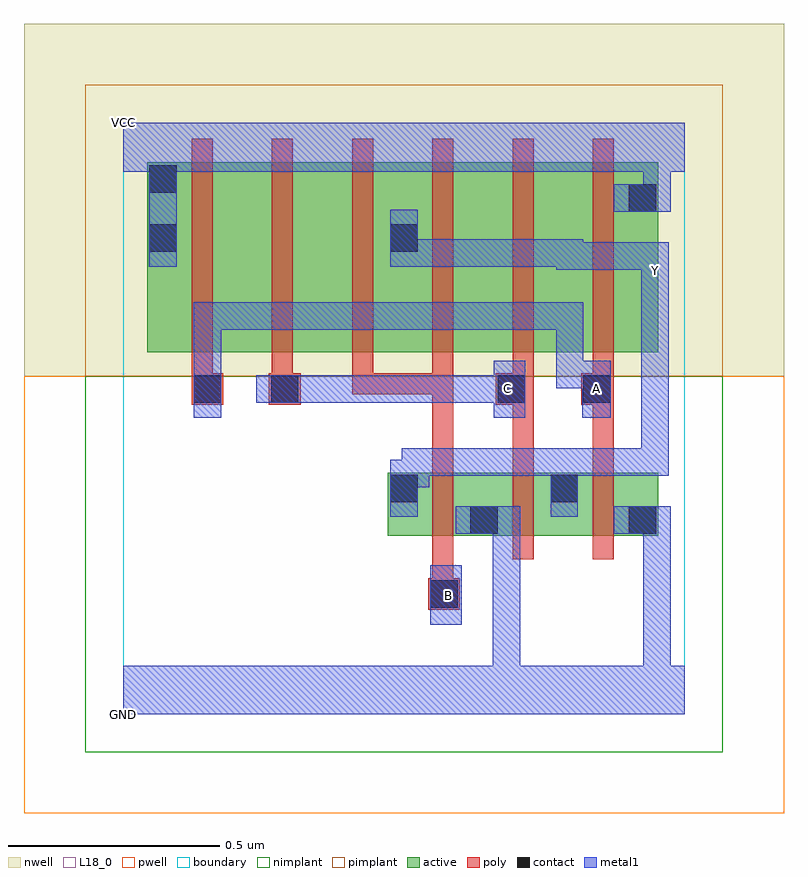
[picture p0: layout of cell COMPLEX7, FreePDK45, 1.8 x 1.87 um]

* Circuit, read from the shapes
.subckt COMPLEX7 A B C GND VCC Y
M1 GND B Y VSUBS nfet w=0.15u l=0.05u
M2 Y C GND VSUBS nfet w=0.15u l=0.05u
M3 GND A Y VSUBS nfet w=0.15u l=0.05u
M4 n1 A VCC n2 pfet w=0.45u l=0.05u
M5 n3 C n1 n2 pfet w=0.45u l=0.05u
M6 Y B n3 n2 pfet w=0.45u l=0.05u
M7 n4 B Y n2 pfet w=0.45u l=0.05u
M8 n5 C n4 n2 pfet w=0.45u l=0.05u
M9 VCC A n5 n2 pfet w=0.45u l=0.05u
.ends

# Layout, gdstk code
import gdstk
lib = gdstk.Library(unit=1e-6, precision=1e-09)
def R(c, l, rs):  # rectangles x0, y0, x1, y1
    for r in rs: c.add(gdstk.rectangle(r[:2], r[2:], *l))
def A(c, l, x, y, w, h, nx, ny, dx, dy):  # array of equal rectangles
    R(c, l, [(x+i*dx, y+j*dy, x+i*dx+w, y+j*dy+h) for i in range(nx) for j in range(ny)])
active = (1, 0)
pwell = (2, 0)
nwell = (3, 0)
nimplant = (4, 0)
pimplant = (5, 0)
poly = (9, 0)
contact = (10, 0)
metal1 = (11, 0)
L18_0 = (18, 0)
boundary = (235, 0)

complex7 = lib.new_cell('COMPLEX7')
R(complex7, active, [(0.627,0.422,0.702,0.572), (0.627,0.422,0.892,0.572), (0.817,0.422,1.082,0.572), (0.817,0.422,0.892,0.497), (1.007,0.422,1.082,0.572), (1.007,0.422,1.267,0.572), (1.192,0.422,1.267,0.572), (0.057,0.857,0.282,1.307), (0.057,0.857,0.132,1.305), (0.282,0.857,0.472,1.307), (0.472,0.857,0.702,1.307), (0.627,0.857,0.852,1.307), (0.627,0.857,0.702,1.2), (0.852,0.857,1.042,1.307), (1.042,0.857,1.267,1.307), (1.192,0.857,1.267,1.307)])
R(complex7, pwell, [(-0.235,-0.235,1.565,0.8)])
R(complex7, nwell, [(-0.235,0.8,1.565,1.635)])
R(complex7, nimplant, [(-0.09,-0.09,1.42,0.8)])
R(complex7, pimplant, [(-0.09,0.8,1.42,1.49)])
A(complex7, poly, 0.732, 0.367, 0.05, 0.26, 3, 1, 0.19, 0)
A(complex7, poly, 0.162, 0.757, 0.05, 0.095, 6, 1, 0.19, 0)
A(complex7, poly, 0.162, 0.802, 0.05, 0.56, 6, 1, 0.19, 0)
R(complex7, poly, [(0.722,0.247,0.797,0.322), (0.732,0.272,0.782,0.417), (0.732,0.577,0.782,0.807), (0.922,0.577,0.972,0.782), (1.112,0.577,1.162,0.782), (0.162,0.732,0.237,0.807), (0.345,0.732,0.42,0.807), (0.882,0.732,0.972,0.807), (1.085,0.732,1.162,0.807), (0.542,0.757,0.782,0.807), (0.542,0.757,0.592,0.807), (0.542,0.757,0.592,0.807), (0.542,0.757,0.592,0.807), (0.732,0.757,0.782,0.807)])
R(complex7, contact, [(0.727,0.252,0.792,0.317), (0.822,0.427,0.887,0.492), (1.197,0.427,1.262,0.492), (0.632,0.502,0.697,0.567), (1.012,0.502,1.077,0.567), (0.167,0.737,0.232,0.802), (0.35,0.737,0.415,0.802), (0.887,0.737,0.952,0.802), (1.09,0.737,1.155,0.802), (0.062,1.095,0.127,1.16), (0.632,1.095,0.697,1.16), (1.197,1.19,1.262,1.255), (0.062,1.235,0.127,1.3)])
R(complex7, metal1, [(0,0,1.33,0.115), (0.875,0.05,0.94,0.115), (0.875,0.05,0.94,0.115), (0.875,0.05,0.94,0.115), (0.875,0.05,0.94,0.115), (0.875,0.05,0.94,0.492), (1.232,0.05,1.297,0.115), (1.232,0.05,1.297,0.115), (1.232,0.05,1.297,0.115), (1.232,0.05,1.297,0.115), (1.232,0.05,1.297,0.115), (1.232,0.05,1.297,0.115), (1.232,0.05,1.297,0.492), (0.727,0.212,0.802,0.352), (0.787,0.427,0.94,0.492), (0.875,0.427,0.94,0.492), (0.875,0.427,0.94,0.492), (0.875,0.427,0.94,0.492), (0.875,0.427,0.94,0.492), (1.162,0.427,1.297,0.492), (1.232,0.427,1.297,0.492), (1.232,0.427,1.297,0.492), (0.632,0.467,0.697,0.602), (1.012,0.467,1.077,0.63), (0.632,0.537,0.725,0.602), (0.66,0.537,0.725,0.63), (0.66,0.565,0.94,0.63), (0.875,0.565,0.94,0.63), (0.875,0.565,0.94,0.63), (0.875,0.565,0.94,0.63), (0.875,0.565,1.077,0.63), (1.012,0.565,1.292,0.63), (1.227,0.565,1.292,0.63), (1.227,0.565,1.292,0.63), (1.227,0.565,1.292,0.63), (1.227,0.565,1.292,1.047), (0.167,0.702,0.232,0.837), (0.877,0.702,0.952,0.837), (1.087,0.702,1.155,0.837), (0.315,0.737,0.45,0.802), (0.385,0.737,0.45,0.802), (0.385,0.737,0.45,0.802), (0.385,0.737,0.587,0.802), (0.522,0.737,0.587,0.802), (0.522,0.737,0.587,0.802), (0.522,0.737,0.587,0.802), (0.522,0.737,0.802,0.802), (0.737,0.737,0.802,0.802), (0.737,0.737,0.94,0.802), (0.875,0.737,0.94,0.802), (0.875,0.737,0.942,0.802), (0.167,0.772,0.232,0.837), (0.167,0.772,0.232,0.837), (0.167,0.772,0.232,0.975), (1.025,0.772,1.09,0.837), (1.025,0.772,1.152,0.837), (1.025,0.772,1.09,0.975), (0.167,0.91,0.232,0.975), (0.167,0.91,0.37,0.975), (0.305,0.91,0.37,0.975), (0.305,0.91,0.37,0.975), (0.305,0.91,0.37,0.975), (0.305,0.91,0.587,0.975), (0.522,0.91,0.587,0.975), (0.522,0.91,0.587,0.975), (0.522,0.91,0.587,0.975), (0.522,0.91,0.725,0.975), (0.66,0.91,0.725,0.975), (0.66,0.91,0.94,0.975), (0.875,0.91,0.94,0.975), (0.875,0.91,0.94,0.975), (0.875,0.91,0.94,0.975), (0.875,0.91,1.09,0.975), (1.025,0.91,1.09,0.975), (1.227,0.982,1.292,1.117), (1.025,1.052,1.292,1.117), (1.025,1.052,1.09,1.125), (1.227,1.052,1.292,1.117), (1.227,1.052,1.292,1.117), (1.227,1.052,1.292,1.117), (1.227,1.052,1.292,1.117), (1.227,1.052,1.292,1.117), (1.227,1.052,1.292,1.117), (0.062,1.06,0.127,1.335), (0.632,1.06,0.697,1.195), (0.632,1.06,0.752,1.125), (0.687,1.06,0.752,1.125), (0.687,1.06,0.94,1.125), (0.875,1.06,0.94,1.125), (0.875,1.06,0.94,1.125), (0.875,1.06,0.94,1.125), (0.875,1.06,1.09,1.125), (1.162,1.19,1.297,1.255), (1.232,1.19,1.297,1.35), (0.062,1.27,0.127,1.35), (0,1.285,1.33,1.4)])
R(complex7, L18_0, [(0,0,1.33,0.115), (0.875,0.05,0.94,0.115), (0.875,0.05,0.94,0.115), (0.875,0.05,0.94,0.115), (0.875,0.05,0.94,0.115), (0.875,0.05,0.94,0.492), (1.232,0.05,1.297,0.115), (1.232,0.05,1.297,0.115), (1.232,0.05,1.297,0.115), (1.232,0.05,1.297,0.115), (1.232,0.05,1.297,0.115), (1.232,0.05,1.297,0.115), (1.232,0.05,1.297,0.492), (0.727,0.212,0.802,0.352), (0.737,0.247,0.802,0.312), (0.787,0.427,0.94,0.492), (0.875,0.427,0.94,0.492), (0.875,0.427,0.94,0.492), (0.875,0.427,0.94,0.492), (0.875,0.427,0.94,0.492), (1.162,0.427,1.297,0.492), (1.232,0.427,1.297,0.492), (1.232,0.427,1.297,0.492), (0.632,0.467,0.697,0.602), (1.012,0.467,1.077,0.63), (0.632,0.537,0.725,0.602), (0.66,0.537,0.725,0.63), (0.66,0.565,0.94,0.63), (0.875,0.565,0.94,0.63), (0.875,0.565,0.94,0.63), (0.875,0.565,0.94,0.63), (0.875,0.565,1.077,0.63), (1.012,0.565,1.292,0.63), (1.227,0.565,1.292,0.63), (1.227,0.565,1.292,0.63), (1.227,0.565,1.292,0.63), (1.227,0.565,1.292,1.047), (0.167,0.702,0.232,0.837), (0.877,0.702,0.952,0.837), (1.087,0.702,1.155,0.837), (0.315,0.737,0.45,0.802), (0.385,0.737,0.45,0.802), (0.385,0.737,0.45,0.802), (0.385,0.737,0.587,0.802), (0.522,0.737,0.587,0.802), (0.522,0.737,0.587,0.802), (0.522,0.737,0.587,0.802), (0.522,0.737,0.802,0.802), (0.737,0.737,0.802,0.802), (0.737,0.737,0.94,0.802), (0.875,0.737,0.94,0.802), (0.875,0.737,0.942,0.802), (0.877,0.737,0.942,0.802), (1.087,0.737,1.152,0.802), (0.167,0.772,0.232,0.837), (0.167,0.772,0.232,0.837), (0.167,0.772,0.232,0.975), (1.025,0.772,1.09,0.837), (1.025,0.772,1.09,0.975), (1.025,0.772,1.152,0.837), (0.167,0.91,0.232,0.975), (0.167,0.91,0.37,0.975), (0.305,0.91,0.37,0.975), (0.305,0.91,0.37,0.975), (0.305,0.91,0.37,0.975), (0.305,0.91,0.587,0.975), (0.522,0.91,0.587,0.975), (0.522,0.91,0.587,0.975), (0.522,0.91,0.587,0.975), (0.522,0.91,0.725,0.975), (0.66,0.91,0.725,0.975), (0.66,0.91,0.94,0.975), (0.875,0.91,0.94,0.975), (0.875,0.91,0.94,0.975), (0.875,0.91,0.94,0.975), (0.875,0.91,1.09,0.975), (1.025,0.91,1.09,0.975), (1.227,0.982,1.292,1.117), (1.227,1.017,1.292,1.082), (1.025,1.052,1.09,1.125), (1.025,1.052,1.292,1.117), (1.227,1.052,1.292,1.117), (1.227,1.052,1.292,1.117), (1.227,1.052,1.292,1.117), (1.227,1.052,1.292,1.117), (1.227,1.052,1.292,1.117), (1.227,1.052,1.292,1.117), (0.062,1.06,0.127,1.335), (0.632,1.06,0.697,1.195), (0.632,1.06,0.752,1.125), (0.687,1.06,0.752,1.125), (0.687,1.06,0.94,1.125), (0.875,1.06,0.94,1.125), (0.875,1.06,0.94,1.125), (0.875,1.06,0.94,1.125), (0.875,1.06,1.09,1.125), (1.162,1.19,1.297,1.255), (1.232,1.19,1.297,1.35), (0.062,1.27,0.127,1.35), (0,1.285,1.33,1.4)])
R(complex7, boundary, [(0,0,1.33,1.4)])
complex7.add(gdstk.Label('A', (1.12,0.77), layer=11, texttype=0))
complex7.add(gdstk.Label('B', (0.77,0.28), layer=11, texttype=0))
complex7.add(gdstk.Label('C', (0.91,0.77), layer=11, texttype=0))
complex7.add(gdstk.Label('Y', (1.26,1.05), layer=11, texttype=0))
complex7.add(gdstk.Label('VCC', (0,1.4), layer=11, texttype=0))
complex7.add(gdstk.Label('GND', (0,0), layer=11, texttype=0))

lib.write_gds('COMPLEX7.gds')
